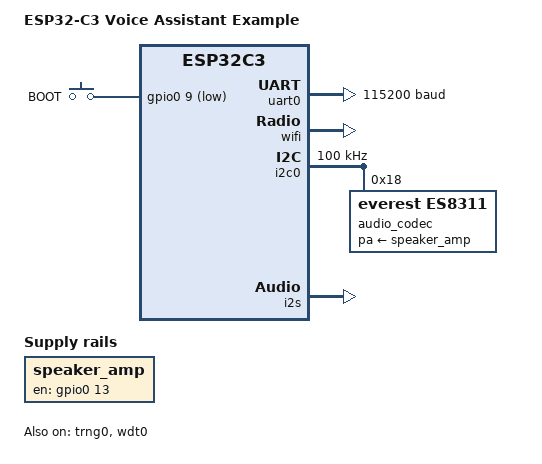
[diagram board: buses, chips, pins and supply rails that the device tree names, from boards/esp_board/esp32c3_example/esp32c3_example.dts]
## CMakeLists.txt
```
# SPDX-License-Identifier: Apache-2.0

cmake_minimum_required(VERSION 3.20.0)

# 工程自带的板级定义放在 boards/ 下, 加入搜索路径后可以直接用 west build -b <板名> 构建
list(APPEND BOARD_ROOT ${CMAKE_CURRENT_SOURCE_DIR})

find_package(Zephyr REQUIRED HINTS $ENV{ZEPHYR_BASE})
project(xiaozhi_zephyr)

if(CONFIG_AUDIO_CODEC_ES8311)
	target_sources(app PRIVATE drivers/audio/es8311.c)
endif()

target_sources(app PRIVATE src/main.c)
```

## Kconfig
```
# SPDX-License-Identifier: Apache-2.0

mainmenu "xiaozhi-zephyr 固件配置"

# source 的路径相对 Zephyr 根目录, 本工程自己的文件用 rsource 引入
source "Kconfig.zephyr"

rsource "drivers/audio/Kconfig"
```

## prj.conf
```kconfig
# 控制台与日志
CONFIG_LOG=y
CONFIG_LOG_DEFAULT_LEVEL=3
CONFIG_CONSOLE=y
CONFIG_SERIAL=y
CONFIG_UART_CONSOLE=y
CONFIG_STDOUT_CONSOLE=y

# GPIO 与输入子系统 (交互按键)
CONFIG_GPIO=y
CONFIG_INPUT=y
CONFIG_INPUT_GPIO_KEYS=y

# I2C (编解码器控制通道与板载器件)
CONFIG_I2C=y

# 音频: I2S 数据通道 + 编解码器控制通道
CONFIG_I2S=y
CONFIG_AUDIO=y
CONFIG_AUDIO_CODEC=y

# 功放电源开关要在使用它的编解码器之前完成初始化(设备树中 pa-supply 声明了该依赖)
CONFIG_REGULATOR_FIXED_INIT_PRIORITY=55
```

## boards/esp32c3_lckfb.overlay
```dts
/*
 * 立创·实战派 ESP32-C3 开发板 V1.3 在官方 esp32c3_lckfb 板定义之外的差异
 * 引脚与网络依据原理图整理结果, 见 doc/SCH_ESP32-C3-V1_3.md
 */

/*
 * 本板没有原生 USB, GPIO18/GPIO19 用作外部接口 J2, 官方板定义默认打开
 * USB Serial/JTAG, 会占用这两脚, 因此关闭。
 */
&usb_serial {
	status = "disabled";
};

/* 官方板定义只把 MCLK/BCK/DI 接进 I2S, 全双工还需要帧同步与播放数据脚 */
&pinctrl {
	i2s_default {
		group2 {
			pinmux = <I2S_O_WS_GPIO12>,
				 <I2S_O_SD_GPIO11>;
		};
	};
};

/ {
	/* 扬声器功放 NS4150B 的使能脚, 播放期间由 ES8311 驱动打开 */
	speaker_amp: speaker-amp {
		compatible = "regulator-fixed";
		regulator-name = "ns4150b";
		enable-gpios = <&gpio0 13 GPIO_ACTIVE_HIGH>;
	};
};

&i2c0 {
	/* ES8311 音频编解码器, CE 接地, 7 位地址 0x18 */
	audio_codec: es8311@18 {
		compatible = "everest,es8311";
		reg = <0x18>;
		pa-supply = <&speaker_amp>;
	};
};

/* 语音采集与播放, 数据经编解码器 ES8311 在 I2S 上交换 */
&i2s {
	status = "okay";
};

/* I2S 收发数据经 GDMA 搬运 */
&dma {
	status = "okay";
};
```

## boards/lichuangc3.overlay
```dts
/*
 * 立创·实战派 ESP32-C3 开发板 V1.3 的板级覆盖配置
 * 基础板: esp32c3_devkitc (ESP32-C3 QFN32 + 外部 SPI Flash)
 * 引脚与网络依据原理图整理结果, 见 doc/SCH_ESP32-C3-V1_3.md
 */

#include <zephyr/dt-bindings/pinctrl/esp32c3-pinctrl.h>

/ {
	chosen {
		zephyr,console = &uart0;
		zephyr,shell-uart = &uart0;
	};
};

/*
 * UART0 经 CH343P 转 USB (GPIO21 TX / GPIO20 RX), 沿用 devkitc 的 uart0_default 引脚配置。
 * BOOT 按键为 GPIO9 低有效, 与 devkitc 的 sw0 (user_button1) 同脚, 直接沿用板级定义。
 */

/*
 * 本板没有原生 USB, GPIO18/GPIO19 用作外部接口 J2 的信号, 必须关闭 USB Serial/JTAG,
 * 否则 USB 控制器会占用这两脚。
 */
&usb_serial {
	status = "disabled";
};

/*
 * 本板 TFT 走 SPI2: SCK=GPIO3, MOSI=GPIO5, CS=GPIO4, DC=GPIO6, 与 devkitc 的
 * spim2_default (GPIO2/6/7/10) 不同, 未配置显示屏前先关闭该总线, 避免占用本板引脚。
 */
&spi2 {
	status = "disabled";
};

/* I2C0: SDA=GPIO0, SCL=GPIO1, 板上 R4/R5 4.7kΩ 已上拉到 3V3 */
&pinctrl {
	i2c0_lichuang: i2c0_lichuang {
		group1 {
			pinmux = <I2C0_SDA_GPIO0>,
				 <I2C0_SCL_GPIO1>;
			bias-pull-up;
			drive-open-drain;
			output-high;
		};
	};
};

&i2c0 {
	status = "okay";
	pinctrl-0 = <&i2c0_lichuang>;
	pinctrl-names = "default";
};

/* 外部 SPI NOR Flash 为 MX25L6433FM2I-08G, 容量 8MB */
&flash0 {
	reg = <0x0 DT_SIZE_M(8)>;
	ranges = <0x0 0x0 DT_SIZE_M(8)>;
};
```

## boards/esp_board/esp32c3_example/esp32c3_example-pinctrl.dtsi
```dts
/*
 * Copyright (c) 2024 Espressif Systems (Shanghai) Co., Ltd.
 *
 * SPDX-License-Identifier: Apache-2.0
 *
 * 引脚复用定义, 按立创·实战派 ESP32-C3 开发板 V1.3 的连接编写
 */

#include <zephyr/dt-bindings/pinctrl/esp32c3-pinctrl.h>

&pinctrl {
	/* 控制台, UART0 经 CH343P 转 USB */
	uart0_default: uart0_default {
		group1 {
			pinmux = <UART0_TX_GPIO21>;
			output-high;
		};

		group2 {
			pinmux = <UART0_RX_GPIO20>;
			bias-pull-up;
		};
	};

	/* 编解码器 ES8311 的控制通道 (地址 0x18) */
	i2c0_default: i2c0_default {
		group1 {
			pinmux = <I2C0_SDA_GPIO0>,
				 <I2C0_SCL_GPIO1>;
			bias-pull-up;
			drive-open-drain;
			output-high;
		};
	};

	/* 语音采集与播放, 接编解码器 ES8311:
	 * MCK/BCK/WS 为时钟与帧同步, DI 为采集数据, DO 为播放数据
	 */
	i2s_default: i2s_default {
		group1 {
			pinmux = <I2S_MCLK_GPIO10>,
				 <I2S_O_BCK_GPIO8>,
				 <I2S_O_WS_GPIO12>,
				 <I2S_I_SD_GPIO7>,
				 <I2S_O_SD_GPIO11>;
		};
	};
};
```

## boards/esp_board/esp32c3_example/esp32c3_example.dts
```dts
/*
 * Copyright (c) 2024 Espressif Systems (Shanghai) Co., Ltd.
 *
 * SPDX-License-Identifier: Apache-2.0
 *
 * 语音助手类板子的最小板级定义示例, 基于 esp32c3_devkitc 改写。
 *
 * 需求与对应节点:
 *   1. MCU + Wi-Fi   运行 Zephyr、联网        -> ESP32-C3 + &wifi
 *   2. 语音采集      采集用户语音             -> &i2s 输入 (ES8311 的 ADC, DI=GPIO7)
 *   3. 音频输出      播放 TTS                 -> &i2s 输出 (ES8311 的 DAC, DO=GPIO11)
 *                                                加 NS4150B 功放使能 GPIO13
 *   4. 交互按键      触发/结束语音交互         -> gpio_keys (GPIO9)
 *
 * 引脚与网络按照立创·实战派 ESP32-C3 开发板 V1.3 的连接编写, 便于在真板上验证,
 * 见 doc/SCH_ESP32-C3-V1_3.md。
 */

/dts-v1/;

#include <espressif/esp32c3/esp32c3_wroom_n4.dtsi>
#include "esp32c3_example-pinctrl.dtsi"
#include <zephyr/dt-bindings/input/input-event-codes.h>
#include <espressif/partitions_0x0_default.dtsi>

/ {
	model = "ESP32-C3 Voice Assistant Example";
	compatible = "espressif,esp32c3";

	chosen {
		zephyr,sram = &sram1;
		zephyr,console = &uart0;
		zephyr,shell-uart = &uart0;
		zephyr,flash = &flash0;
		zephyr,code-partition = &slot0_partition;
	};

	aliases {
		sw0 = &user_button1;
		i2c-0 = &i2c0;
		watchdog0 = &wdt0;
	};

	/* 交互按键: 触发/结束语音交互 */
	gpio_keys {
		compatible = "gpio-keys";

		user_button1: button_1 {
			label = "BOOT";
			gpios = <&gpio0 9 (GPIO_PULL_UP | GPIO_ACTIVE_LOW)>;
			zephyr,code = <INPUT_KEY_0>;
		};
	};

	/* 扬声器功放 NS4150B 的使能脚, 播放期间由 ES8311 驱动打开 */
	speaker_amp: speaker-amp {
		compatible = "regulator-fixed";
		regulator-name = "ns4150b";
		enable-gpios = <&gpio0 13 GPIO_ACTIVE_HIGH>;
	};
};

&uart0 {
	status = "okay";
	current-speed = <115200>;
	pinctrl-0 = <&uart0_default>;
	pinctrl-names = "default";
};

/* 板上没有原生 USB, GPIO18/GPIO19 用作外部接口 */
&usb_serial {
	status = "disabled";
};

/* MCU + Wi-Fi */
&wifi {
	status = "okay";
};

&gpio0 {
	status = "okay";
};

/* ES8311 编解码器的控制通道, 地址 0x18 */
&i2c0 {
	status = "okay";
	clock-frequency = <I2C_BITRATE_STANDARD>;
	pinctrl-0 = <&i2c0_default>;
	pinctrl-names = "default";

	/* 语音采集走 ES8311 的 ADC, 播放走它的 DAC, 功放使能由驱动开关 */
	audio_codec: es8311@18 {
		compatible = "everest,es8311";
		reg = <0x18>;
		pa-supply = <&speaker_amp>;
	};
};

/* 语音采集与播放, 数据经编解码器 ES8311 在 I2S 上与 MCU 交换 */
&i2s {
	status = "okay";
	pinctrl-0 = <&i2s_default>;
	pinctrl-names = "default";
};

/* I2S 收发数据经 GDMA 搬运 */
&dma {
	status = "okay";
};

/* Wi-Fi 的熵源 */
&trng0 {
	status = "okay";
};

&wdt0 {
	status = "okay";
};

/* 外部 SPI NOR Flash, 容量 8MB */
&flash0 {
	reg = <0x0 DT_SIZE_M(8)>;
	ranges = <0x0 0x0 DT_SIZE_M(8)>;
};
```

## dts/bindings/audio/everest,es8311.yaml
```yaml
# SPDX-License-Identifier: Apache-2.0

description: |
  Everest Semiconductor ES8311 low power mono audio codec.

  器件工作在从机模式, MCLK/BCLK/LRCK 由 I2S 控制器提供, 应用层通过
  Zephyr 的 audio codec 接口访问。

compatible: "everest,es8311"

include: [i2c-device.yaml]

properties:
  pa-supply:
    type: phandle
    description: |
      扬声器功放的供电开关, 指向一个 regulator 节点。
      播放开始时由驱动使能, 播放结束后关闭, 使能顺序与解除静音配合避免爆音。
```

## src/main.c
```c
/*
 * SPDX-License-Identifier: Apache-2.0
 */

#include <stdio.h>

int main(void)
{
	printf("Hello World! %s\n", CONFIG_BOARD_TARGET);

	return 0;
}
```
